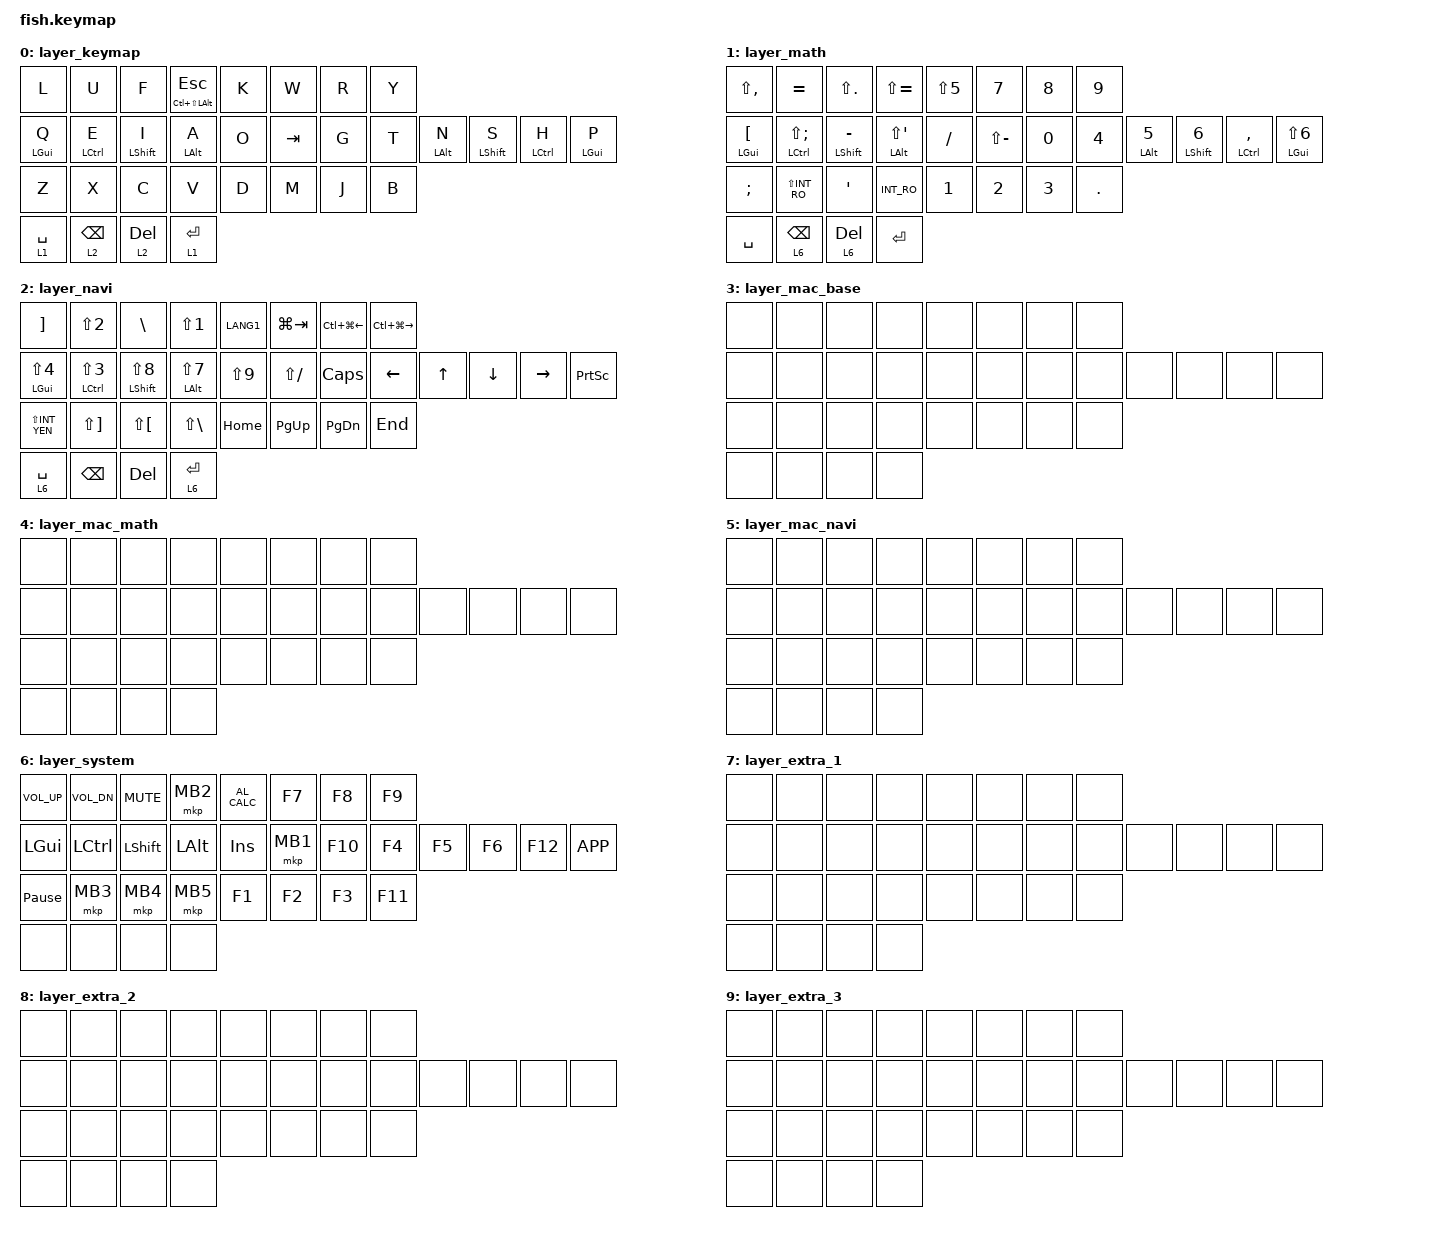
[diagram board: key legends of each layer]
// キーマップを更新する方法は https://o24.works/fish/guide を参照
// 視覚的に編集するには https://o24.works/fish/editor を参照


// 定義を呼んでくる
#include <behaviors.dtsi>
#include <dt-bindings/zmk/keys.h>
#include <dt-bindings/zmk/mouse.h>
#include <dt-bindings/zmk/bt.h>
#include <dt-bindings/zmk/outputs.h>
#include <dt-bindings/zmk/pointing.h>


// 特殊入力の挙動を調整できる

&mt {
    flavor = "tap-preferred";
    tapping-term-ms = <225>;
    quick-tap-ms = <200>;
    require-prior-idle-ms = <150>;
};

&lt {
    flavor = "balanced";
    tapping-term-ms = <175>;
    quick-tap-ms = <200>;
};

&sk {
};

&sl {
};

&caps_word {
};

&key_repeat {
};


/ {
    // 独自の入力を定義できる（上級者向け）

    behaviors {
    };

    macros {
    };

    conditional_layers {
    };


    // 複数キーの同時押しに特別の入力を設定できる
    // キー番号早見表：
    //       0  1  2  3     4  5  6  7
    // 8  9 10 11 12 13    14 15 16 17 18 19
    //   20 21 22 23          24 25 26 27
    //            28 29    30 31

    combos {
        compatible = "zmk,combos";
        timeout-ms = <100>;
        require-prior-idle-ms = <150>;

        combo_bt_clr_all_L {
            key-positions = <0 1 2>;
            bindings = <&bt BT_CLR_ALL>;
        };

        combo_bt_clr_all_R {
            key-positions = <5 6 7>;
            bindings = <&bt BT_CLR_ALL>;
        };

        combo_sys_reset_L {
            key-positions = <8 9 10 11>;
            bindings = <&sys_reset>;
        };

        combo_sys_reset_R {
            key-positions = <16 17 18 19>;
            bindings = <&sys_reset>;
        };

        combo_reset_L {
            key-positions = <3 8 13>;
            bindings = <&bootloader>;
        };

        combo_reset_R {
            key-positions = <4 14 19>;
            bindings = <&bootloader>;
        };

        combo_studio_unlock_L {
            key-positions = <20 21 22 23>;
            bindings = <&studio_unlock>;
        };

        combo_studio_unlock_R {
            key-positions = <24 25 26 27>;
            bindings = <&studio_unlock>;
        };
    };
    

    // キーに入力を割り当てる
    // 型（&...）は https://zmk.dev/docs/behaviors/... を参照
    // キーコードは https://zmk.dev/docs/codes/... を参照

    keymap {
        compatible = "zmk,keymap";

        layer_keymap {
            bindings = <
&kp L &kp U &kp F &mt LC(LS(LALT)) ESC &kp K &kp W &kp R &kp Y
&mt LGUI Q &mt LCTRL E &mt LSHFT I &mt LALT A &kp O &kp TAB &kp G &kp T &mt LALT N &mt LSHFT S &mt LCTRL H &mt LGUI P
&kp Z &kp X &kp C &kp V &kp D &kp M &kp J &kp B
&lt 1 SPACE &lt 2 BSPC &lt 2 DEL &lt 1 RET
            >;
        };

        layer_math {
            bindings = <
&kp LS(COMMA) &kp EQUAL &kp LS(DOT) &kp LS(EQUAL) &kp LS(N5) &kp N7 &kp N8 &kp N9
&mt LGUI LBKT &mt LCTRL LS(SEMI) &mt LSHFT MINUS &mt LALT LS(SQT) &kp SLASH &kp LS(MINUS) &kp N0 &kp N4 &mt LALT N5 &mt LSHFT N6 &mt LCTRL COMMA &mt LGUI LS(N6)
&kp SEMI &kp LS(INT_RO) &kp SQT &kp INT_RO &kp N1 &kp N2 &kp N3 &kp DOT
&kp SPACE &lt 6 BSPC &lt 6 DEL &kp RET
            >;
        };

        layer_navi {
            bindings = <
&kp RBKT &kp LS(N2) &kp BSLH &kp LS(N1) &kp LANG1 &kp LG(TAB) &kp LC(LG(LEFT)) &kp LC(LG(RIGHT))
&mt LGUI LS(N4) &mt LCTRL LS(N3) &mt LSHFT LS(N8) &mt LALT LS(N7) &kp LS(N9) &kp LS(SLASH) &kp CAPS &kp LEFT &kp UP &kp DOWN &kp RIGHT &kp PSCRN
&kp LS(INT_YEN) &kp LS(RBKT) &kp LS(LBKT) &kp LS(BSLH) &kp HOME &kp PG_UP &kp PG_DN &kp END
&lt 6 SPACE &kp BSPC &kp DEL &lt 6 RET
            >;
        };

        layer_mac_base {
            bindings = <
&none &none &none &none &none &none &none &none
&none &none &none &none &none &none &none &none &none &none &none &none
&none &none &none &none &none &none &none &none
&none &none &none &none
            >;
        };

        layer_mac_math {
            bindings = <
&none &none &none &none &none &none &none &none
&none &none &none &none &none &none &none &none &none &none &none &none
&none &none &none &none &none &none &none &none
&none &none &none &none
            >;
        };

        layer_mac_navi {
            bindings = <
&none &none &none &none &none &none &none &none
&none &none &none &none &none &none &none &none &none &none &none &none
&none &none &none &none &none &none &none &none
&none &none &none &none
            >;
        };

        layer_system {
            bindings = <
&kp C_VOL_UP &kp C_VOL_DN &kp C_MUTE &mkp MB2 &kp C_AL_CALC &kp F7 &kp F8 &kp F9
&kp LGUI &kp LCTRL &kp LSHFT &kp LALT &kp INS &mkp MB1 &kp F10 &kp F4 &kp F5 &kp F6 &kp F12 &kp K_APP
&kp PAUSE_BREAK &mkp MB3 &mkp MB4 &mkp MB5 &kp F1 &kp F2 &kp F3 &kp F11 
&none &none &none &none
            >;
        };

        layer_extra_1 {
            bindings = <
&none &none &none &none &none &none &none &none
&none &none &none &none &none &none &none &none &none &none &none &none
&none &none &none &none &none &none &none &none
&none &none &none &none
            >;
        };

        layer_extra_2 {
            bindings = <
&none &none &none &none &none &none &none &none
&none &none &none &none &none &none &none &none &none &none &none &none
&none &none &none &none &none &none &none &none
&none &none &none &none
            >;
        };

        layer_extra_3 {
            bindings = <
&none &none &none &none &none &none &none &none
&none &none &none &none &none &none &none &none &none &none &none &none
&none &none &none &none &none &none &none &none
&none &none &none &none
            >;
        };
    };
};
